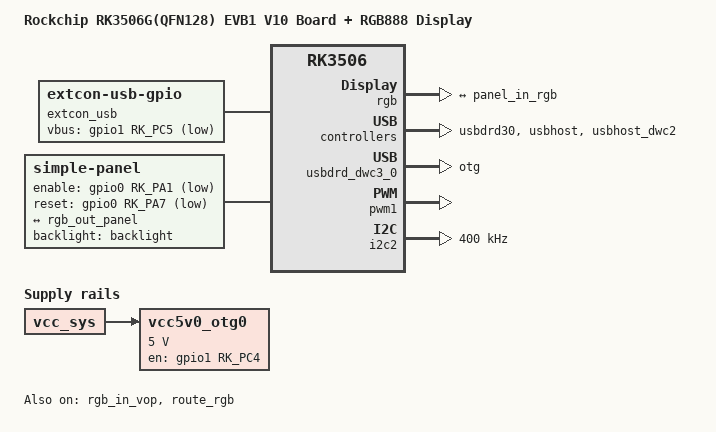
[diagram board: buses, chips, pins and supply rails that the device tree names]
// SPDX-License-Identifier: (GPL-2.0+ OR MIT)
/*
 * Copyright (c) 2024 Rockchip Electronics Co., Ltd.
 * RGB888 Display Configuration for RK3506G EVB
 */

/dts-v1/;

#include "rk3506.dtsi"
#include "rk3506-evb1-v10.dtsi"
#include <dt-bindings/display/media-bus-format.h>

/ {
	model = "Rockchip RK3506G(QFN128) EVB1 V10 Board + RGB888 Display";
	compatible = "rockchip,rk3506g-evb1-v10-rgb", "rockchip,rk3506";

	chosen {
		bootargs = "earlycon=uart8250,mmio32,0xff0a0000,115200 console=ttyFIQ0,115200 storagemedia=sd root=/dev/mmcblk0p3 rootfstype=ext4 rw rootwait";
	};

	extcon_usb: extcon-usb {
		compatible = "linux,extcon-usb-gpio";
		vbus-gpio = <&gpio1 RK_PC5 GPIO_ACTIVE_LOW>;
		pinctrl-names = "default";
		pinctrl-0 = <&usb_extcon_vbus>;
		status = "okay";
	};

	vcc5v0_otg0: vcc5v0-otg0-regulator {
		compatible = "regulator-fixed";
		regulator-name = "vcc5v0_otg0";
		regulator-min-microvolt = <5000000>;
		regulator-max-microvolt = <5000000>;
		enable-active-high;
		gpio = <&gpio1 RK_PC4 GPIO_ACTIVE_HIGH>;
		vin-supply = <&vcc_sys>;
		regulator-state-mem {
			regulator-off-in-suspend;
		};
	};

	/* RGB888 LCD Panel Configuration */
	panel: panel {
		compatible = "simple-panel";
		bus-format = <MEDIA_BUS_FMT_RGB888_1X24>;
		backlight = <&backlight>;
		
		/* Panel Control GPIOs - ADJUST THESE FOR YOUR HARDWARE */
		/* Note: GPIO assignments depend on your hardware connections */
		enable-gpios = <&gpio0 RK_PA1 GPIO_ACTIVE_LOW>;
		enable-delay-ms = <20>;
		reset-gpios = <&gpio0 RK_PA7 GPIO_ACTIVE_LOW>;
		reset-delay-ms = <10>;
		
		status = "okay";

		/* Display Timing Parameters - EXAMPLE VALUES */
		/* IMPORTANT: Replace these with your actual LCD panel specifications */
		/* Get these values from your LCD panel datasheet */
		display-timings {
			native-mode = <&rgb_timing>;

			rgb_timing: timing0 {
				/* Example: 1024x600 @ 60Hz RGB LCD */
				/* Pixel clock = (htotal * vtotal * refresh_rate) */
				clock-frequency = <51200000>;
				
				/* Horizontal parameters */
				hactive = <1024>;
				hfront-porch = <160>;
				hsync-len = <24>;
				hback-porch = <160>;
				
				/* Vertical parameters */
				vactive = <600>;
				vfront-porch = <12>;
				vsync-len = <2>;
				vback-porch = <23>;
				
				/* Signal polarities */
				hsync-active = <0>;
				vsync-active = <0>;
				de-active = <0>;
				pixelclk-active = <0>;
			};
		};

		port {
			panel_in_rgb: endpoint {
				remote-endpoint = <&rgb_out_panel>;
			};
		};
	};
};

&cma {
	size = <0x1600000>;
};

/* Enable RGB Controller */
&rgb {
	status = "okay";
	pinctrl-names = "default";
	pinctrl-0 = <&rgb888_pins>;

	ports {
		rgb_out: port@1 {
			reg = <1>;
			#address-cells = <1>;
			#size-cells = <0>;

			rgb_out_panel: endpoint@0 {
				reg = <0>;
				remote-endpoint = <&panel_in_rgb>;
			};
		};
	};
};

/* Enable RGB input from VOP */
&rgb_in_vop {
	status = "okay";
};

/* Enable RGB routing */
&route_rgb {
	status = "okay";
};

/* USB OTG Configuration */
&u2phy_otg0 {
	rockchip,vbus-always-on;
};

&usbdrd30 {
	status = "okay";
};

&usbdrd_dwc3_0 {
	status = "okay";
	dr_mode = "otg";
	extcon = <&extcon_usb>;
};

&usbhost {
	status = "okay";
};

&usbhost_dwc2 {
	status = "okay";
};

/* PWM for Backlight Control */
&pwm1 {
	status = "okay";
	pinctrl-names = "active";
	pinctrl-0 = <&pwm1m0_pins>;
};

/* I2C for potential touch controller or other peripherals */
&i2c2 {
	status = "okay";
	clock-frequency = <400000>;
};

/* Pin Control for USB Detection */
&pinctrl {
	usb {
		usb_extcon_vbus: usb-extcon-vbus {
			rockchip,pins = <1 RK_PC5 RK_FUNC_GPIO &pcfg_pull_none>;
		};
	};
};

